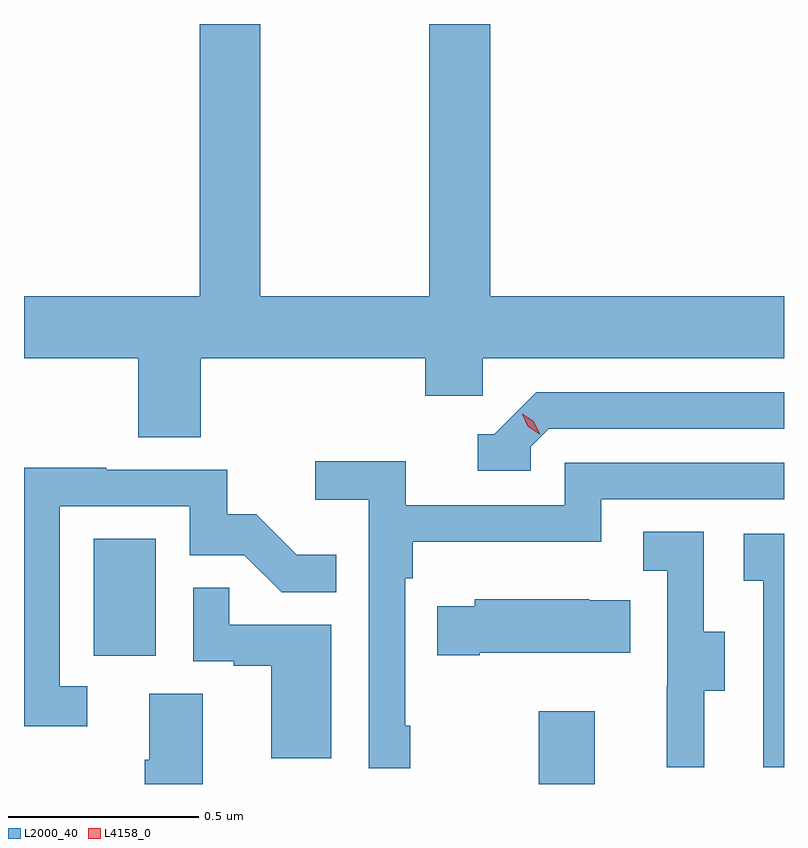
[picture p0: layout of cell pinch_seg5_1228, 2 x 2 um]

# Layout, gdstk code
import gdstk
lib = gdstk.Library(unit=1e-6, precision=1e-09)
def R(c, l, rs):  # rectangles x0, y0, x1, y1
    for r in rs: c.add(gdstk.rectangle(r[:2], r[2:], *l))
def P(c, l, *ps):  # polygons
    for p in ps: c.add(gdstk.Polygon(p, *l))
L2000_40 = (2000, 40)
L4158_0 = (4158, 0)

pinch_seg5_1228 = lib.new_cell('pinch_seg5_1228')
R(pinch_seg5_1228, L2000_40, [(859.354,848.98,859.501,849.172), (858.182,849.318,858.346,849.625)])
P(pinch_seg5_1228, L2000_40, [(858.621,850.98),(858.461,850.98),(858.461,850.264),(857.999,850.264),(857.999,850.1),(858.299,850.1),(858.299,849.892),(858.464,849.892),(858.464,850.1),(859.055,850.1),(859.055,850.002),(859.206,850.002),(859.206,850.1),(859.999,850.1),(859.999,850.264),(859.226,850.264),(859.226,850.98),(859.066,850.98),(859.066,850.264),(858.621,850.264)],
  [(859.332,849.867),(859.38,849.915),(859.999,849.915),(859.999,850.011),(859.347,850.011),(859.236,849.9),(859.193,849.9),(859.193,849.804),(859.332,849.804)],
  [(859.015,849.133),(859.002,849.133),(859.002,849.521),(859.022,849.521),(859.022,849.617),(859.518,849.617),(859.518,849.729),(859.999,849.729),(859.999,849.825),(859.422,849.825),(859.422,849.714),(859.004,849.714),(859.004,849.83),(858.765,849.83),(858.765,849.728),(858.906,849.728),(858.906,849.021),(859.015,849.021)],
  [(858.166,849.237),(858.093,849.237),(858.093,849.711),(858.435,849.711),(858.435,849.582),(858.579,849.582),(858.677,849.484),(858.821,849.484),(858.821,849.583),(858.717,849.583),(858.61,849.69),(858.534,849.69),(858.534,849.807),(858.215,849.807),(858.215,849.812),(857.999,849.812),(857.999,849.132),(858.166,849.132)],
  [(859.789,849.226),(859.843,849.226),(859.843,849.381),(859.788,849.381),(859.788,849.644),(859.629,849.644),(859.629,849.541),(859.692,849.541),(859.692,849.237),(859.691,849.237),(859.691,849.024),(859.789,849.024)],
  [(859.999,849.639),(859.893,849.639),(859.893,849.515),(859.944,849.515),(859.944,849.024),(859.999,849.024)],
  [(858.808,849.399),(858.539,849.399),(858.539,849.497),(858.444,849.497),(858.444,849.303),(858.551,849.303),(858.551,849.291),(858.65,849.291),(858.65,849.048),(858.808,849.048)],
  [(859.198,849.326),(859.595,849.326),(859.595,849.463),(859.487,849.463),(859.487,849.466),(859.185,849.466),(859.185,849.448),(859.087,849.448),(859.087,849.319),(859.198,849.319)],
  [(858.469,849.218),(858.329,849.218),(858.329,849.044),(858.317,849.044),(858.317,848.98),(858.469,848.98)])
P(pinch_seg5_1228, L4158_0, [(859.355,849.901),(859.325,849.921),(859.31,849.953),(859.31,849.954),(859.31,849.954),(859.34,849.934),(859.356,849.902),(859.356,849.901)])

lib.write_gds('pinch_seg5_1228.gds')
